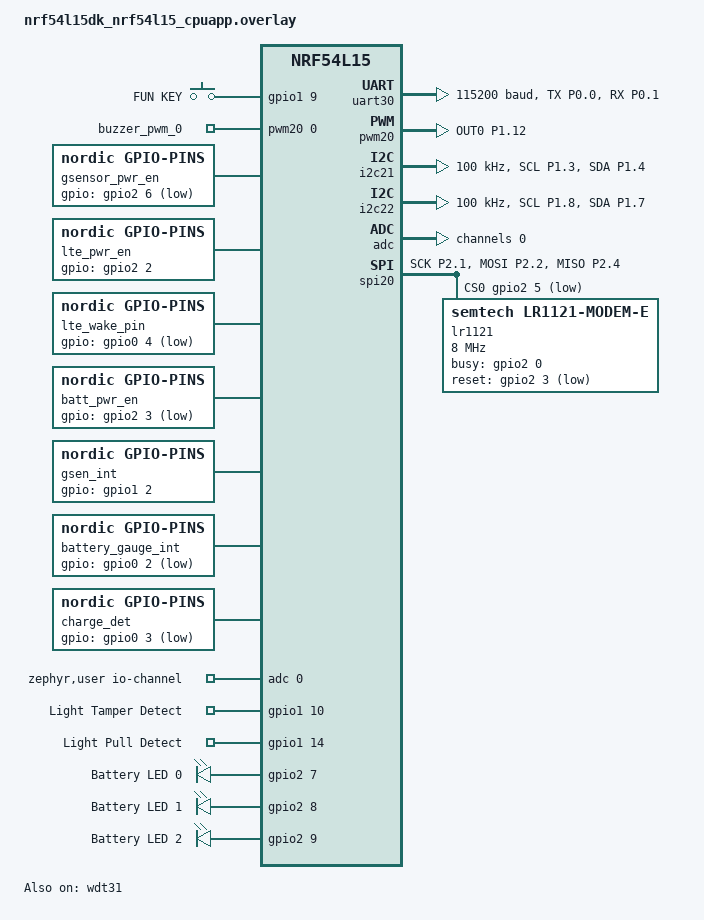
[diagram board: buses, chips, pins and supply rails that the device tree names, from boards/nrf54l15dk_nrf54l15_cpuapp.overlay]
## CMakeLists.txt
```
#
# Copyright (c) 2018 Nordic Semiconductor
#
# SPDX-License-Identifier: LicenseRef-Nordic-5-Clause
#
cmake_minimum_required(VERSION 3.20.0)

find_package(Zephyr REQUIRED HINTS $ENV{ZEPHYR_BASE})
project(LL311_BLE)

target_include_directories(app PRIVATE
 ./inc
 ./src
 ./ext_module/imu/api
 ./ext_module/imu/port
 ./ext_module/imu/vendor
#  ./ext_module/battery_gauge/api
#  ./ext_module/battery_gauge/port
#  ./ext_module/battery_gauge/vendor
 ./ext_module/temp_humi/api
 ./ext_module/temp_humi/drivers/SHTC3/inc
 ./ext_module/barometer/api
 ./ext_module/lr1121/api
 ./ext_module/lr1121/modemE_driver/src
#  ./ext_module/accelerometer/api
#  ./ext_module/accelerometer/drivers/DA213/inc
)

# NORDIC SDK APP START
target_sources(app PRIVATE
  src/main.c
  src/my_ring_buf.c
  src/my_shell.c
  src/my_ble_core.c
  src/my_lte.c
  src/my_magnetic_uart.c
  src/my_gsensor.c
  src/my_gsensor_algorithm.c
  src/my_ctrl.c
  src/my_battery.c
  src/my_wdt.c
  src/my_tool.c
  src/my_cmd_setting.c
  src/my_zms_param.c
  src/my_ble_app.c
  src/my_ble_log.c
  src/my_dfu_jimi.c
  src/my_dfu_lte.c
  src/my_ota_flash.c
  src/my_ymodem.c
  src/my_pm.c
  src/my_ble_scan.c
  ext_module/imu/api/imu_api.c
  ext_module/imu/port/bmi325_port.c
  ext_module/imu/vendor/bmi325.c
  ext_module/imu/vendor/bmi3.c
  # ext_module/battery_gauge/api/battery_gauge_api.c
  # ext_module/battery_gauge/port/om70201wv_port.c
  # ext_module/battery_gauge/vendor/omg_battery.c
  ext_module/temp_humi/api/temp_humi_api.c
  ext_module/temp_humi/drivers/SHTC3/src/shtc3_driver.c
  ext_module/barometer/api/barometer_api.c
  # ext_module/accelerometer/api/accelerometer_api.c
  # ext_module/accelerometer/drivers/DA213/src/da213_driver.c
  src/my_flash_store.c
  src/my_lora.c
  ext_module/lr1121/api/lr1121_lora_api.c
  ext_module/lr1121/port/modem_e_hal_nrf54l15.c
  ext_module/lr1121/modemE_driver/src/modem_e_modem.c
  ext_module/lr1121/modemE_driver/src/modem_e_lorawan.c
  ext_module/lr1121/modemE_driver/src/modem_e_system.c
)

# 气压传感器芯片选择：BARO_DRIVER=SPL16时仅编译SPL16驱动
set(BARO_DRIVER "SPL16" CACHE STRING "气压传感器芯片：SPA06 或 SPL16")

if(BARO_DRIVER STREQUAL "SPL16")
  target_compile_definitions(app PRIVATE BARO_USE_SPL16=1)
  target_sources(app PRIVATE
    ext_module/barometer/drivers/SPL16/src/spl16_driver.c
  )
else()
  target_sources(app PRIVATE
    ext_module/barometer/drivers/SPA06/src/spa06_driver.c
  )
endif()

# NORDIC SDK APP END
```

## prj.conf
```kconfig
#
# Copyright (c) 2018 Nordic Semiconductor
#
# SPDX-License-Identifier: LicenseRef-Nordic-5-Clause
#

# Enable the UART driver
CONFIG_UART_ASYNC_API=y
CONFIG_NRFX_UARTE=y
CONFIG_SERIAL=y

# Enable the GPIO driver
CONFIG_GPIO=y

# LR1121 Modem-E validation transport
CONFIG_SPI=y
CONFIG_NRF_SYS_EVENT=y
# Enable I2C driver
CONFIG_I2C=y

# Enable PWM driver
CONFIG_PWM=y

# Make sure printk is printing to the RTT console
CONFIG_CONSOLE=y
CONFIG_UART_CONSOLE=n
CONFIG_RTT_CONSOLE=y

# Enable Shell
CONFIG_SHELL=y
CONFIG_SHELL_BACKEND_RTT=y
CONFIG_SHELL_BACKEND_SERIAL=n
CONFIG_SHELL_VT100_COMMANDS=y
CONFIG_SHELL_HISTORY=y

# Increase RTT buffer size to prevent message drops
CONFIG_SEGGER_RTT_BUFFER_SIZE_UP=4096
CONFIG_LOG_BUFFER_SIZE=4096

# Heap and stacks
CONFIG_HEAP_MEM_POOL_SIZE=16384
CONFIG_MAIN_STACK_SIZE=2048
CONFIG_SYSTEM_WORKQUEUE_STACK_SIZE=2048

# Bluetooth RX workqueue stack size (default 1200 is insufficient for BLE log, increased to 2048)
CONFIG_BT_RX_STACK_SIZE=2048

# Enable Bluetooth
CONFIG_BT=y
CONFIG_BT_PERIPHERAL=y
CONFIG_BT_DEVICE_NAME="LL311"
CONFIG_BT_DEVICE_APPEARANCE=512
CONFIG_BT_MAX_CONN=2
CONFIG_BT_MAX_PAIRED=1

# Enable Bluetooth Observer role for TAG scanning
CONFIG_BT_OBSERVER=y
CONFIG_BT_SCAN=y

# Enable extended advertising for multiple advertising sets
CONFIG_BT_EXT_ADV=y
CONFIG_BT_EXT_ADV_MAX_ADV_SET=3

CONFIG_BT_CTLR_TX_PWR_DYNAMIC_CONTROL=y

# Enable the Device Information Service
# CONFIG_BT_DIS=y
# CONFIG_BT_DIS_MANUF_NAME=y
# CONFIG_BT_DIS_MANUF_NAME_STR="Nordic Semiconductor ASA"
# CONFIG_BT_DIS_PNP=y
# CONFIG_BT_DIS_PNP_VID_SRC=2
# CONFIG_BT_DIS_PNP_VID=0x1915
# CONFIG_BT_DIS_PNP_PID=0xEEF1
# CONFIG_BT_DIS_PNP_VER=0x0100

# Disable NUS service
CONFIG_BT_NUS=n
# CONFIG_BT_NUS_THREAD_STACK_SIZE is no longer needed

# Enable bonding
CONFIG_BT_SETTINGS=y
CONFIG_FLASH=y
CONFIG_FLASH_PAGE_LAYOUT=y
CONFIG_FLASH_MAP=y
CONFIG_STREAM_FLASH=y
CONFIG_PARTITION_MANAGER_ENABLED=y

# Enable DK LED and Buttons library
CONFIG_DK_LIBRARY=n

# Disable SPI NOR Flash
CONFIG_SPI_NOR=n
CONFIG_NORDIC_QSPI_NOR=n

# Enable Power Management
CONFIG_PM=y
CONFIG_PM_DEVICE=y
CONFIG_PM_DEVICE_RUNTIME=y

# Disable unused RAM blocks to reduce standby current
CONFIG_RAM_POWER_DOWN_LIBRARY=y

# Config logger
CONFIG_LOG=y
CONFIG_LOG_DEFAULT_LEVEL=3
CONFIG_USE_SEGGER_RTT=y
CONFIG_LOG_BACKEND_RTT=n
CONFIG_LOG_BACKEND_UART=n
CONFIG_LOG_PRINTK=n
CONFIG_LOG_CUSTOM_FORMAT_SUPPORT=y
CONFIG_LOG_OUTPUT_FORMAT_CUSTOM_TIMESTAMP=y
CONFIG_LOG_BACKEND_FORMAT_TIMESTAMP=y

CONFIG_HWINFO=y


# Enable assertions
CONFIG_ASSERT=y

# Enable power management
CONFIG_PM=y
CONFIG_PM_DEVICE=y

# Enable Watchdog
CONFIG_WATCHDOG=y

# Enable reboot
CONFIG_REBOOT=y

# Enable ADC
CONFIG_ADC=y
CONFIG_ADC_NRFX_SAADC=y

# ST MEMSC HAL
CONFIG_USE_STDC_LSM6DSV16X=y

# Enable poweroff
CONFIG_POWEROFF=y

# nRF Security + PSA Crypto
CONFIG_NRF_SECURITY=y

# AES ECB
CONFIG_PSA_WANT_KEY_TYPE_AES=y
CONFIG_PSA_WANT_ALG_ECB_NO_PADDING=y

# Enable MCUManager and BT OTA DFU
CONFIG_NCS_SAMPLE_MCUMGR_BT_OTA_DFU=y

# Enable Bluetooth OTA DFU support, no authentication required
CONFIG_MCUMGR_TRANSPORT_BT_PERM_RW=y

# MCUmgr notification hooks for OTA status monitoring
CONFIG_MCUMGR_MGMT_NOTIFICATION_HOOKS=y
CONFIG_MCUMGR_SMP_COMMAND_STATUS_HOOKS=y
CONFIG_MCUMGR_GRP_IMG_UPLOAD_CHECK_HOOK=y

# Enable Bluetooth SMP (Security Manager Protocol)
CONFIG_BT_SMP=y

# Enable Secure Connections pairing (for Passkey Entry)
CONFIG_BT_SMP_SC_PAIR_ONLY=n

# Enable larger ACL buffers for DFU (MTU 498 + 4 bytes L2CAP header)
# Supports dual-PDU mode: max data length = 251 * 2 = 502
CONFIG_BT_L2CAP_TX_MTU=498
CONFIG_BT_BUF_ACL_RX_SIZE=502
CONFIG_BT_BUF_ACL_TX_SIZE=502
CONFIG_BT_CTLR_DATA_LENGTH_MAX=251

CONFIG_CBPRINTF_FP_SUPPORT=y
```

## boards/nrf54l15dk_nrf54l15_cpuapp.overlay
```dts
/*
 * Copyright (c) 2024 Nordic Semiconductor ASA
 *
 * SPDX-License-Identifier: LicenseRef-Nordic-5-Clause
 */

#include <zephyr/dt-bindings/gpio/gpio.h>
#include <zephyr/dt-bindings/i2c/i2c.h>
#include <zephyr/dt-bindings/pinctrl/nrf-pinctrl.h>

/ {
	chosen {
	};

	/* 定义别名，方便代码调用 */
	aliases {
		/* 删除板级alias别名 */
		/delete-property/ led0;
		/delete-property/ led1;
		/delete-property/ led2;
		/delete-property/ led3;
		/delete-property/ pwm-led0;
		/delete-property/ sw0;
		/delete-property/ sw1;
		/delete-property/ sw2;
		/delete-property/ sw3;
		/delete-property/ mcuboot-button0;
		/delete-property/ mcuboot-led0;
		lte-uart = &uart30;
		lte-pwr-ctrl = &lte_pwr_en;
		lte-wake-ctrl = &lte_wake_pin;
		gsensor-i2c = &i2c21;
		battery-gauge-i2c = &i2c21;
		gsensor-pwr-ctrl = &gsensor_pwr_en;
		buzzer-pwm = &buzzer_pwm_0;
		fun-key = &fun_key_pin;
		batt-pwr-ctrl = &batt_pwr_en;
		gsensor-int = &gsen_int;
		battery-gauge-int = &battery_gauge_int;
		charge-detect = &charge_det;
		magnetic-uart = &uart20;
		light-tamper-detect = &light_tamper_pin;
		light-pull-detect = &light_pull_pin;
		battery-led0 = &batt_led0;
		battery-led1 = &batt_led1;
		battery-led2 = &batt_led2;
		temp-humi-i2c = &i2c22;
		env-sensor-pwr-ctrl = &env_sensor_pwr_en;
		baro-i2c = &i2c22;
	};
	/* 删除板级节点 */
	/delete-node/ leds;
	/delete-node/ buttons;
	/delete-node/ pwmleds;

	/* 定义按键 - 使用 gpio-keys 兼容类型 */
	button_fun: button_fun {
		compatible = "gpio-keys";
		fun_key_pin: fun_key_pin {
			gpios = <&gpio1 9 (GPIO_PULL_DOWN | GPIO_ACTIVE_HIGH)>;
			label = "FUN KEY";
		};
	};

	/* 定义蜂鸣器 PWM 节点 */
	buzzer_node {
		compatible = "pwm-leds";
		buzzer_pwm_0: buzzer_pwm_0 {
			/* 蜂鸣器设置2.7KHz */
			pwms = <&pwm20 0 PWM_HZ(2700) PWM_POLARITY_NORMAL>;
		};
	};

	/* G-Sensor 电源控制引脚配置,低电平有效,适配硬件设计 */
	gsensor_pwr_en: gsensor-pwr-en {
		compatible = "nordic,gpio-pins";
		gpios = <&gpio2 6 GPIO_ACTIVE_LOW>;
		status = "okay";
	};

	/* LTE 电源控制引脚配置 */
	lte_pwr_en: lte-pwr-en {
		compatible = "nordic,gpio-pins";
		gpios = <&gpio2 2 GPIO_ACTIVE_HIGH>;
		status = "okay";
	};

	/* LTE 唤醒引脚配置：P0.04，外部上拉，4G拉低唤醒Nordic */
	lte_wake_pin: lte-wake-pin {
		compatible = "nordic,gpio-pins";
		gpios = <&gpio0 4 GPIO_ACTIVE_LOW>;
		status = "okay";
	};

	/* P2.3: 电池使能，低电平使能 */
	batt_pwr_en: batt-pwr-en {
		compatible = "nordic,gpio-pins";
		gpios = <&gpio2 3 GPIO_ACTIVE_LOW>;
		status = "okay";
	};

	/* gsensor中断，默认下拉 */
	gsen_int: gsen-int {
		compatible = "nordic,gpio-pins";
		gpios = <&gpio1 2 (GPIO_PULL_DOWN | GPIO_ACTIVE_HIGH)>;
		status = "okay";
	};

	/* OM70201WV INTN：P0.02，默认上拉输入，低电平有效 */
	battery_gauge_int: battery-gauge-int {
		compatible = "nordic,gpio-pins";
		gpios = <&gpio0 2 (GPIO_PULL_UP | GPIO_ACTIVE_LOW)>;
		status = "okay";
	};

	/* P0.3: 是否在充电的检测,外部上拉 */
	charge_det: charge-det {
		compatible = "nordic,gpio-pins";
		gpios = <&gpio0 3 (GPIO_ACTIVE_LOW)>;
		status = "okay";
	};

	/* 把要用的 ADC 通道挂到 zephyr,user，方便 C 代码用 ADC_DT_SPEC_GET(DT_PATH(zephyr_user)) */
	zephyr,user {
		/* 通道 0：电池电压（P1.13 / AIN6）*/
		io-channels = <&adc 0>;
	};

	/* 光感拆壳检测：P1.10，外部1M下拉，有光高电平，无光低电平 */
	/* 光感拆卸检测：P1.14，外部1M下拉，有光高电平，无光低电平 */
	light_det: light-det {
		compatible = "gpio-keys";
		light_tamper_pin: light_tamper_pin {
			gpios = <&gpio1 10 GPIO_ACTIVE_HIGH>;
			label = "Light Tamper Detect";
		};
		light_pull_pin: light_pull_pin {
			gpios = <&gpio1 14 GPIO_ACTIVE_HIGH>;
			label = "Light Pull Detect";
		};
	};

	/* 电量指示灯组：P2.7 / P2.8 / P2.9 */
	batt_leds: batt-leds {
		compatible = "gpio-leds";

		batt_led0: batt_led_0 {
			gpios = <&gpio2 7 GPIO_ACTIVE_HIGH>;
			label = "Battery LED 0";  /* 最低电量格 */
		};

		batt_led1: batt_led_1 {
			gpios = <&gpio2 8 GPIO_ACTIVE_HIGH>;
			label = "Battery LED 1";
		};

		batt_led2: batt_led_2 {
			gpios = <&gpio2 9 GPIO_ACTIVE_HIGH>;
			label = "Battery LED 2";  /* 最高电量格 */
		};
	};

	/* LoRa 验证占用 P2.05 作为 LR1121 NSS，环境传感器保持断电。 */
	env_sensor_pwr_en: env-sensor-pwr-en {
		compatible = "nordic,gpio-pins";
		gpios = <&gpio2 5 GPIO_ACTIVE_LOW>;
		status = "disabled";
	};


};

/* 配置 NFC 使用的引脚做为IO口 */
&uicr {
	nfct-pins-as-gpios;
};

&uart20 {
	status = "disabled";
};

/* 配置 LTE 模块使用的串口引脚 P2.00, P2.01 */
&pinctrl {
	i2c21_default: i2c21_default {
		group1 {
			psels = <NRF_PSEL(TWIM_SCL, 1, 3)>,
				<NRF_PSEL(TWIM_SDA, 1, 4)>;
		};
	};

	i2c21_sleep: i2c21_sleep {
		group1 {
			psels = <NRF_PSEL(TWIM_SCL, 1, 3)>,
				<NRF_PSEL(TWIM_SDA, 1, 4)>;
			low-power-enable;
		};
	};

	i2c22_default: i2c22_default {
		group1 {
			psels = <NRF_PSEL(TWIM_SCL, 1, 8)>,
				<NRF_PSEL(TWIM_SDA, 1, 7)>;
		};
	};

	i2c22_sleep: i2c22_sleep {
		group1 {
			psels = <NRF_PSEL(TWIM_SCL, 1, 8)>,
				<NRF_PSEL(TWIM_SDA, 1, 7)>;
			low-power-enable;
		};
	};

	lte_uart30_default: lte_uart30_default {
		group1 {
			/* TX 为输出，无需偏置 */
			psels = <NRF_PSEL(UART_TX, 0, 0)>;
		};
		group2 {
			/* RX 为输入，default 状态配置上拉 */
			psels = <NRF_PSEL(UART_RX, 0, 1)>;
			bias-pull-up;
		};
	};

	lte_uart30_sleep: lte_uart30_sleep {
		group1 {
			/* sleep 状态配置低功耗模式(高阻态) */
			psels = <NRF_PSEL(UART_TX, 0, 0)>,
					<NRF_PSEL(UART_RX, 0, 1)>;
			low-power-enable;
		};
	};

	uart20_default: uart20_default {
		group1 {
			psels = <NRF_PSEL(UART_TX, 1, 5)>;
		};
		group2 {
			psels = <NRF_PSEL(UART_RX, 1, 6)>;
			bias-pull-up;
		};
	};

	uart20_sleep: uart20_sleep {
		group1 {
			psels = <NRF_PSEL(UART_TX, 1, 5)>,
				<NRF_PSEL(UART_RX, 1, 6)>;
			low-power-enable;
		};
	};

	pwm20_default: pwm20_default {
		group1 {
			psels = <NRF_PSEL(PWM_OUT0, 1, 12)>;
			nordic,drive-mode = <NRF_DRIVE_H0H1>;
		};
	};

	pwm20_sleep: pwm20_sleep {
		group1 {
			psels = <NRF_PSEL(PWM_OUT0, 1, 12)>;
			low-power-enable;
		};
	};

	lr1121_spi_default: lr1121_spi_default {
		group1 {
			psels = <NRF_PSEL(SPIM_SCK, 2, 1)>,
				<NRF_PSEL(SPIM_MOSI, 2, 2)>,
				<NRF_PSEL(SPIM_MISO, 2, 4)>;
			nordic,drive-mode = <NRF_DRIVE_H0H1>;
			bias-disable;
		};
	};

	lr1121_spi_sleep: lr1121_spi_sleep {
		group1 {
			psels = <NRF_PSEL(SPIM_SCK, 2, 1)>,
				<NRF_PSEL(SPIM_MOSI, 2, 2)>,
				<NRF_PSEL(SPIM_MISO, 2, 4)>;
			low-power-enable;
		};
	};
};

/* 开启并配置 UART30 */
&uart30 {
	status = "okay";
	current-speed = <115200>;
	pinctrl-0 = <&lte_uart30_default>;
	pinctrl-1 = <&lte_uart30_sleep>;
	pinctrl-names = "default", "sleep";
};

&uart20 {
	status = "disabled";
};

/* 开启并配置 PWM 用于蜂鸣器 */
&pwm20 {
	status = "okay";
	pinctrl-0 = <&pwm20_default>;
	pinctrl-1 = <&pwm20_sleep>;
	pinctrl-names = "default", "sleep";
};

/* 开启并配置 I2C21 用于 G-Sensor */
&i2c21 {
	status = "okay";
	pinctrl-0 = <&i2c21_default>;
	pinctrl-1 = <&i2c21_sleep>;
	pinctrl-names = "default", "sleep";
	clock-frequency = <I2C_BITRATE_STANDARD>;
};

/* 温湿度传感器 I2C 总线：P1.08(SCL), P1.07(SDA) */
&i2c22 {
	status = "okay";
	pinctrl-0 = <&i2c22_default>;
	pinctrl-1 = <&i2c22_sleep>;
	pinctrl-names = "default", "sleep";
	clock-frequency = <I2C_BITRATE_STANDARD>;
};

/* ADC 配置：通道 0 = AIN6(P1.13)，通道 1 = AIN7(P1.14) */
&adc {
	#address-cells = <1>;
	#size-cells = <0>;
	status = "okay";

	/* 通道 0：电池电压采集，AIN6 = P1.13 */
	channel@0 {
		reg = <0>;
		zephyr,gain = "ADC_GAIN_1_4";          /* nRF54L15 推荐 1/4 增益 */
		zephyr,reference = "ADC_REF_INTERNAL"; /* 内部参考 */
		zephyr,acquisition-time = <ADC_ACQ_TIME_DEFAULT>;
		zephyr,input-positive = <NRF_SAADC_AIN6>;  /* AIN6 = P1.13 */
		zephyr,resolution = <14>;                  /* nRF54L15 为 14 bit */
	};
};

/* disable spi nor flash */
&spi00 {
	status = "disabled";
};

/* Disable MX25R64 SPI NOR Flash */
&mx25r64 {
    status = "disabled";
};

/* LR1121 使用 SPIM20 (spi20) */
&spi20 {
	status = "okay";
	pinctrl-0 = <&lr1121_spi_default>;
	pinctrl-1 = <&lr1121_spi_sleep>;
	pinctrl-names = "default", "sleep";
	cs-gpios = <&gpio2 5 (GPIO_ACTIVE_LOW)>;
	lr1121: lr1121@0 {
		compatible = "semtech,lr1121-modem-e";
		reg = <0>;
		spi-max-frequency = <8000000>;
		busy-gpios = <&gpio2 0 GPIO_ACTIVE_HIGH>;
		reset-gpios = <&gpio2 3 GPIO_ACTIVE_LOW>;
	};
};

/* P0.4用于唤醒 */
&gpio0 {
	// wakeup-source;
	sense-edge-mask = <(BIT(2) | BIT(3) | BIT(4))>;  /* P0.2、P0.3 和 P0.4 */
};

/* 新增：为 gpio1 启用 sense 机制，降低功耗 */
&gpio1 {
	status = "okay";
	sense-edge-mask = <(BIT(2) | BIT(9) | BIT(10))>;  /* P1.2、P1.9 和 P1.10 */
};

&wdt31 {
	status = "okay";
};
```

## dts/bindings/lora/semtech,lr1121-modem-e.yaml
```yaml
description: Semtech LR1121 running LoRa Basics Modem-E

compatible: "semtech,lr1121-modem-e"

include: spi-device.yaml

properties:
  busy-gpios:
    type: phandle-array
    required: true
    description: LR1121 BUSY output GPIO.

  reset-gpios:
    type: phandle-array
    required: true
    description: LR1121 active-low reset GPIO.
```

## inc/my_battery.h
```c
/********************************************************************
**版权所有         深圳市几米物联有限公司
**文件名称:        my_battery.h
**文件描述:        电池管理模块实现头文件
**当前版本:        V1.0
**作    者:        周森达 (zhousenda@jimiiot.com)
**完成日期:        2026.02.04
*********************************************************************/

#ifndef _MY_BATTERY_H_
#define _MY_BATTERY_H_

// 电池状态枚举, 定义了电池的不同状态等级，从空到满
typedef enum
{
    BATT_UNKNOWN = -1,  /* 电池状态未知状态 */
    BATT_EMPTY,         /* 电池电量为空 */
    BATT_LOW,           /* 电池电量低 */
    BATT_NORMAL,        /* 电池电量正常 */
    BATT_FAIR,          /* 电池电量良好 */
    BATT_HIGH,          /* 电池电量高 */
    BATT_FULL,          /* 电池电量满 */
} my_batt_state_t;

// 电源状态枚举, 定义了设备的电源连接状态
typedef enum
{
    CHARG_UNKNOWN = -1,     /* 充电状态未知状态 */
    NO_CHARGING,            /* 充电器未连接 */
    CHARGING,               /* 充电器已连接（充电中） */
    CHARG_FULL,             /* 充电器已连接且电池已充满 */
} my_chg_state_t;

typedef enum
{
    CHG_BATT_LOW,    /* 充电状态电池电量低 */
    CHG_BATT_FAIR,   /* 充电状态电池电量良好 */
    CHG_BATT_HIGH,   /* 充电状态电池电量高 */
    CHG_BATT_FULL,   /* 充电状态电池电量满，电池已充满 */
} my_chg_batt_state_t;

// LED模式枚举, 定义了LED的不同显示模式
typedef enum
{
    BATT_LED_MODE,          // 电池状态LED模式
    CHG_LED_MODE,           // 充电状态LED模式
    BT_RADIO_LED_MODE,      // 蓝牙广播状态LED模式
    BT_CONNECT_LED_MODE,    // 蓝牙连接状态LED模式
} led_mode_t;

//电池电压-电量映射结构体,用于存储电池电压值与对应电量百分比的映射关系,用于通过电池电压计算电量百分比.
typedef struct
{
    int32_t mv;       /**< 电池电压值，单位为毫伏 (mV) */
    int8_t percent;   /**< 对应的电池电量百分比，范围为 0-100 */
} batt_volt_percent_map_t;

// LED控制上下文结构体, 用于存储LED控制相关的状态信息
typedef struct
{
  uint8_t led_status;                // LED控制标志位
  led_mode_t active_mode;            // 当前生效模式
  uint8_t led_count;                 // LED计数器
} led_ctrl_ctx_t;

// 电源状态，初始值为未连接
extern my_chg_state_t g_charg_state;

int batt_read_mv(int32_t *mv);
int ntc_read_raw(int16_t *raw);
int batt_adc_init(void);
void batt_enable(bool on);
int batt_gpio_init(void);

/*********************************************************************
**函数名称:  my_battery_update_state
**入口参数:  无
**出口参数:  无
**函数功能:  检查并更新电池状态
*********************************************************************/
void my_battery_update_state(void);

/*********************************************************************
**函数名称:  my_battery_show_chgled
**入口参数:  无
**出口参数:  无
**函数功能:  检查充电检测引脚的状态，根据检测结果更新充电状态并控制LED显示。
** 如果检测到充电，则启动充电LED控制定时器；如果未检测到充电，则关闭所有电池LED。
*********************************************************************/
void my_battery_show_chgled();

/*********************************************************************
**函数名称:  my_battery_read_mv
**入口参数:  *mv  --  指向存储电池电压值的指针，单位为毫伏
**出口参数:  err  --  错误码，0 表示成功，非 0 表示失败
**函数功能:  读取电池电压值（毫伏）,函数采用多次采样并去除极值的方法提高测量准确性,
**           最终结果会乘以 2，是因为硬件电路中的分压系数
*********************************************************************/
int my_battery_read_mv(int32_t *mv);

/*********************************************************************
**函数名称:  my_battery_pm_register
**入口参数:  无
**出口参数:  无
**函数功能:  将 Battery 模块注册到统一 PM 框架
**返 回 值:  0 表示成功，负值表示失败
*********************************************************************/
int my_battery_pm_register(void);

/*********************************************************************
**函数名称:  get_show_percent
**入口参数:  无
**出口参数:  电池电量百分比
**函数功能:  获取当前电池电量百分比
*********************************************************************/
int8_t get_show_percent(void);

/*********************************************************************
**函数名称:  get_charge_state_level
**入口参数:  无
**出口参数:  充电状态引脚电平
**函数功能:  获取当前充电状态引脚电平
*********************************************************************/
int get_charge_state_level(void);

/*********************************************************************
**函数名称:  open_led_timer
**入口参数:  timer_ms: 定时器周期时间，单位毫秒
**出口参数:  无
**函数功能:  打开LED控制开关，用于显示指示灯状态
*********************************************************************/
void open_led_timer(uint32_t timer_ms);

/*********************************************************************
**函数名称:  my_led_ctrl_mode
**入口参数:  无
**出口参数:  无
**函数功能:  控制LED模式
*********************************************************************/
void my_led_ctrl_mode(void);

/*********************************************************************
**函数名称:  led_enable
**入口参数:  on: true=使能，false=禁用
**出口参数:  无
**函数功能:  使能LED
*********************************************************************/
void led_enable(bool on);

/*********************************************************************
**函数名称:  led_set_mode
**入口参数:  mode: LED模式
** on: 是否开启
**出口参数:  无
**函数功能:  设置LED模式
*********************************************************************/
void led_set_mode(led_mode_t mode, bool on);

/*********************************************************************
**函数名称:  led_get_enable
**入口参数:  无
**出口参数:  LED使能标志
**函数功能:  获取LED使能标志
*********************************************************************/
bool led_get_enable(void);

/*********************************************************************
**函数名称:  get_batt_mv
**入口参数:  无
**出口参数:  电池电压值（毫伏）
**函数功能:  获取当前电池电压值（毫伏）
*********************************************************************/
int get_batt_mv(void);

/*********************************************************************
**函数名称:  get_batt_percent
**入口参数:  无
**出口参数:  电池电量百分比
**函数功能:  获取当前电池电量百分比
*********************************************************************/
int8_t get_batt_percent(void);

#endif
```

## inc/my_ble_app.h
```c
/********************************************************************
**版权所有         深圳市几米物联有限公司
**文件名称:        my_ble_app.h
**文件描述:        设备蓝牙交互模块实现头文件
**当前版本:        V1.0
**作    者:        周森达 (zhousenda@jimiiot.com)
**完成日期:        2026-03-05
*********************************************************************
** 功能描述:        1. 提供交互协议相关宏定义
**                 2. 为外部提供数据接收和解析相关接口
** 协议文档:        Jimi Iot 蓝牙通信协议V3.1.6_2026-3-5
** OTA 效率优化:    为提升 OTA 传输效率，采用双 PDU 模式，MTU 扩大至 498 字节
**                 （默认 MTU 247 仅支持单 PDU，498 支持双 PDU，理论吞吐提升约 2 倍）
** 配置位置:        prj.conf 中 CONFIG_BT_L2CAP_TX_MTU=498 和 CONFIG_BT_BUF_ACL_RX_SIZE=502
*********************************************************************/
#ifndef _MY_BLE_APP_H_
#define _MY_BLE_APP_H_

// 交互协议相关宏定义
#define BLE_DATA_FRAME_LEN_MAX                  16

#define BLE_DATA_PACKET_HEAD                    0X4254          //数据包头
#define BLE_DATA_TYPE_PKEY                      0x1101          //公钥数据
#define BLE_DATA_TYPE_CID                       0x2202          //串号数据
#define BLE_DATA_TYPE_MTU_LEN                   0x2203          //MTU交换数据
#define BLE_DATA_TYPE_HID_VALID                 0x2303          //HID有效期
#define BLE_DATA_TYPE_ALARM                     0x3303          //防盗器指令数据
#define BLE_DATA_TYPE_QUERY                     0x3304          //查询仪表数据及应答
#define BLE_DATA_TYPE_REPORT                    0x3305          //仪表数据上行汇报及应答
#define BLE_DATA_TYPE_CMD                       0x5505          //其它指令数据
#define BLE_DATA_TYPE_FILE_TRANS                0x4605          //DFU文件指令,参考Jimi Iot 蓝牙通信协议V3.1.6_2026-3-5 6.4 OTA文件传输
#define BLE_DATA_TYPE_QEURY_VER                 0x5601          //app下行查询版本号
#define BLE_DATA_TYPE_RSP_VER1                  0x5602          //设备类型
#define BLE_DATA_TYPE_RSP_VER2                  0x5603          //设备版本号

#define BLE_DATA_TYPE_SET_ADV                   0x5606          //设置广播名称
#define BLE_DATA_TYPE_SET_IMEI                  0x5707          //设置IMEI号
#define BLE_DATA_TYPE_AT_CMD                    0x5808          //用户指令

/* 单模块回复传输（0xFF 0x01 / 0xFF 0x02）
 * 用于大数据量返回，如NFCTRIG CHECK返回结果
 * 1. 可单包发送时走 FF01：payload 格式为 len(Varint, 0-512) + Module id(Varint,固定0x08) + Module len(Varint) + data
 *    APP 回复解密后 payload 固定为 0x00
 * 2. 需分包发送时走 FF02：payload 格式为 Len(Varint, 0-512) + Seq(1B) + [首包附带 Module id + Module len] + data
 *    APP 回复格式为 52 54 FF 02，解密后 payload 为 len(Varint) + 包序号
 */
#define BLE_DATA_TYPE_PACKET_SINGLE             0xFF01          //单包传输数据类型
#define BLE_DATA_TYPE_PACKET_MULTIPLE           0xFF02          //分包传输数据类型

#define BLE_PACKET_TRANS_MODULE_ID              0x08            //模块ID(RSP_ASCII)
#define BLE_PACKET_TRANS_SEQ_LAST               0xFF            //最后一包序号标记

/* 日志指令透传数据（LOG_DATA）
 * 指令格式：
 * +--------+--------+--------+--------+
 * |  字节  |   0~1  |   2~3  |  4~N   |
 * +--------+--------+--------+--------+
 * |  字段  |  head  |  cmd   |  data  |
 * +--------+--------+--------+--------+
 * |  值    | 0x4254 | 0x5901 |  日志  |
 * +--------+--------+--------+--------+
 * 说明：
 *   - head (2B): 帧头 0x4254 ("BT")
 *   - cmd  (2B): 指令类型 0x5901 (LOG_DATA)
 *   - data (NB): 透传日志内容，明文传输，无需16字节对齐，测试发现小于16字节的需要填充0，补足16字节
 *   - 长度计算: MTU - BLE_LOG_MTU_OVERHEAD
 *   - MTU开销: ATT头(3B) + head(2B) + cmd(2B) = 7B
 */
#define BLE_DATA_TYPE_BT_LOG                    0x5901          //日志指令透传数据（LOG_DATA）
/* 日志数据MTU开销：ATT头(3B) + head(2B) + cmd(2B) */
#define BLE_LOG_MTU_OVERHEAD                    7

/* 蓝牙日志单包最大内容长度
 * 原因：测试发现超过240字节会导致蓝牙自动断开
 * 注意：此限制与MTU无关，是协议栈稳定性要求
 */
#define BLE_LOG_MAX_CHUNK_SIZE                  240

#define BLE_DFU_HEAD1                           0x78            // DFU包头1
#define BLE_DFU_HEAD2                           0x79            // DFU包头2

#define BLE_COMU_DEV_CODE                       0xB3            // 设备码
#define BLE_COMU_APP_CODE                       0xC2            // 应用码
#define BLE_COMU_CMD_START                      0x89            // 命令码
#define BLE_COMU_ALARM_START                    0x78            // 告警码

#define BLE_PKEY_RX_CMD                         0x8900C200      // 公钥接收命令
#define BLE_PKEY_RSP_DATA1                      0x00            // 公钥接收响应数据1
#define BLE_PKEY_RSP_DATA3                      0x00

/* APP下行控制指令    */
#define BLE_APP_CMD_APP_LINK                    0x00
#define BLE_APP_CMD_PAIR_ALLOW                  0x02
#define BLE_APP_CMD_PAIR_ALIOS                  0x03            // IOS PAIR ALLOW
#define BLE_APP_CMD_HID_READ                    0x05
#define BLE_APP_CMD_HID_ONOFF                   0x06
#define BLE_APP_CMD_HID_GEAR                    0x08
#define BLE_APP_CMD_QUERY_SENSOR                0x09
#define BLE_APP_CMD_SETUP_SENSOR                0x0a
#define BLE_APP_CMD_QUERY_BUZZER                0x0b
#define BLE_APP_CMD_SETUP_BUZZER                0x0c
#define BLE_APP_CMD_QUERY_CTRLPWR               0x0d
#define BLE_APP_CMD_SETUP_CTRLPWR               0x0e
#define BLE_APP_CMD_QUERY_ALL                   0x0f
#define BLE_APP_CMD_FIND_CAR                    0x10
#define BLE_APP_CMD_USER_MODE                   0x12
#define BLE_APP_CMD_PAIR_MODE                   0x15
#define BLE_APP_CMD_PAIR_CODE                   0x16

/* 设备上行应答APP控制指令       */
#define BLE_RSP_CMD_APP_LINK                    0x00
#define BLE_RSP_CMD_CID                         0x01
#define BLE_RSP_CMD_PAIR_ALLOW                  0x03
#define BLE_RSP_CMD_PAIR_RESULT                 0x04
#define BLE_RSP_CMD_HID_ONOFF                   0x06
#define BLE_RSP_CMD_HID_GEAR                    0x08
#define BLE_RSP_CMD_SENSOR_PARAM                0x09
#define BLE_RSP_CMD_SENSOR_SETUP                0x0a
#define BLE_RSP_CMD_BUZZER_PARAM                0x0b
#define BLE_RSP_CMD_BUZZER_SETUP                0x0c
#define BLE_RSP_CMD_CTRLPWR_PARAM               0x0d
#define BLE_RSP_CMD_CTRLPWR_SETUP               0x0e
#define BLE_RSP_CMD_QUERY_ALL                   0x0f
#define BLE_RSP_CMD_FIND_CAR                    0x10
#define BLE_RSP_CMD_USER_MODE                   0x12
#define BLE_RSP_CMD_PAIR_MODE                   0x15
#define BLE_RSP_CMD_PAIR_CODE                   0x16

#define BLE_RSP_PARAM_SUCCESS                   0x00
#define BLE_RSP_PARAM_FAIL                      0x01

extern uint16_t g_ble_server_mtu;

#define BLE_SERVER_MAX_MTU CONFIG_BT_L2CAP_TX_MTU // MTU最大长度，系统用掉了3个字节,可用数据最大244字节
#define BLE_SERVER_MIN_MTU 23                     // MTU默认最小长度

#define BLE_SERVER_MAX_DATA_LEN    (g_ble_server_mtu - 3)
#define BLE_SVC_RX_MAX_LEN         (BLE_SERVER_MAX_MTU - 3)
#define BLE_SVC_TX_MAX_LEN         (BLE_SERVER_MAX_MTU - 3)

#define BLE_RESP_LENGTH_MAX         BLE_SVC_RX_MAX_LEN

#define BLE_FRAME_HEAD_LEN          2               // 蓝牙数据帧头长度2字节
#define BLE_CMD_HEAD_LEN            2               // 蓝牙命令头长度2字节
#define BLE_CMD_DATA_LEN_UNIT       16              // 蓝牙命令内容长度基数16字节，因为要加密，必须是16字节的倍数
#define BLE_GATT_FRAME_LEN_MIN      (BLE_FRAME_HEAD_LEN + BLE_CMD_HEAD_LEN + BLE_CMD_DATA_LEN_UNIT)

#define BLE_MTU_DATA_LEN            (512 + 16)  /* MTU 498 支持，最大解密后约 512 字节，对齐 16 字节 */

/*********************************************************************
**函数名称:  BLE_DataInputBuffer
**入口参数:  data        --  蓝牙接收的原始数据指针
**           len         --  蓝牙接收的原始数据长度
**出口参数:  无
**函数功能:  验证数据长度合法性后缓存数据，发送消息给蓝牙线程处理
**返 回 值:  无
*********************************************************************/
void BLE_DataInputBuffer(const uint8_t *data, uint16_t len);
/*********************************************************************
**函数名称:  ble_rx_proc_handle
**入口参数:  无
**出口参数:  无
**函数功能:  蓝牙接收消息处理函数，验证包头后分发处理数据包
**返 回 值:  无
*********************************************************************/
void ble_rx_proc_handle(void);

/*********************************************************************
**函数名称:  my_ble_dfu_send_response
**入口参数:  cmd   ---   命令码
**           data  ---   响应数据
**           len   ---   数据长度
**出口参数:  无
**函数功能:  发送 DFU 响应数据
**返 回 值:  无
*********************************************************************/
void my_ble_dfu_send_response(uint8_t cmd, uint8_t *data, uint16_t len);

/*********************************************************************
**函数名称:  ble_log_send
**入口参数:  data     ---        日志数据指针
**           len      ---        日志数据长度
**出口参数:  无
**函数功能:  发送蓝牙日志到APP，通过指令通道（0x5901）明文传输
**返 回 值:  无
*********************************************************************/
void ble_log_send(uint8_t *data, uint8_t len);

/*********************************************************************
**函数名称:  ble_log_init
**入口参数:  无
**出口参数:  无
**函数功能:  初始化蓝牙日志模块，包括互斥锁初始化
**返 回 值:  0 表示成功
*********************************************************************/
int ble_log_init(void);

/*********************************************************************
**函数名称:  ble_log_disconnect_cleanup
**入口参数:  无
**出口参数:  无
**函数功能:  蓝牙断开时设置断开标志，通知 ble_log_send 清理资源
**返 回 值:  无
*********************************************************************/
void ble_log_disconnect_cleanup(void);

/*********************************************************************
**函数名称:  ble_log_connect_init
**入口参数:  无
**出口参数:  无
**函数功能:  蓝牙连接建立时清除断开标志，允许日志发送
**返 回 值:  无
*********************************************************************/
void ble_log_connect_init(void);
/********************************************************************
**函数名称:  ble_comu_at_cmd_handle
**入口参数:  data          ---        AT命令数据输入指针
**         :  len           ---        数据长度
**出口参数:  无
**函数功能:  处理BLE接收的AT命令
**返回值:    无
**注意事项:  根据AT命令处理结果决定是否发送响应数据
*********************************************************************/
void ble_comu_at_cmd_handle(const uint8_t *data, uint16_t len);

/********************************************************************
**函数名称:  ble_packet_trans_send
**入口参数:  data          ---        待发送的实际数据指针
**         :  len           ---        待发送的实际数据长度
**出口参数:  无
**函数功能:  使用分包传输机制（0xFF 0x02）发送大数据到APP
**返回值:    无
**注意事项:  1.数据会被自动分包，每包等待APP确认后再发下一包
**           2.分包大小根据MTU自动计算
**           3.数据内容会被扩展到16字节倍数后加密发送
**           4.最后一包实际数据使用0xFF作为序号
*********************************************************************/
void ble_packet_trans_send(uint8_t *data, uint16_t len);

/*********************************************************************
**函数名称:  ble_packet_trans_init
**入口参数:  无
**出口参数:  无
**函数功能:  初始化BLE单包/分包回复超时与重发模块
**返 回 值:  无
*********************************************************************/
void ble_packet_trans_init(void);

/*********************************************************************
**函数名称:  ble_packet_trans_timeout_handler
**入口参数:  无
**出口参数:  无
**函数功能:  BLE 分包传输应答超时处理，在 BLE 线程上下文执行
**返 回 值:  无
*********************************************************************/
void ble_packet_trans_timeout_handler(void);

/*********************************************************************
**函数名称:  ble_packet_trans_disconnect_cleanup
**入口参数:  无
**出口参数:  无
**函数功能:  蓝牙断开时清理BLE单包/分包回复状态
**返 回 值:  无
*********************************************************************/
void ble_packet_trans_disconnect_cleanup(void);

/********************************************************************
**函数名称:  ble_comu_response_or_expansion_cmd
**入口参数:  type          ---        命令类型
**         :  str_data      ---        输入数据指针
**         :  len           ---        数据长度
**出口参数:  无
**函数功能:  发送BLE通信响应或扩展命令数据
**返回值:    无
**注意事项:  数据长度会被扩展到16字节的倍数进行发送
*********************************************************************/
void ble_comu_response_or_expansion_cmd(uint16_t type, uint8_t *str_data, uint8_t len);
#endif
```

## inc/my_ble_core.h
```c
/********************************************************************
**版权所有         深圳市几米物联有限公司
**文件名称:        my_ble_core.h
**文件描述:        蓝牙核心任务处理模块头文件
**当前版本:        V1.0
**作    者:        Harrison Wu (wuyujiao@jimiiot.com)
**完成日期:        2026.01.13
*********************************************************************
** 功能描述:        蓝牙核心任务处理模块接口
**                 1. 提供BLE核心初始化接口
**                 2. 提供BLE运行控制接口(启动/停止等)
**                 3. 定义BLE与UART透传之间的FIFO接口
**                 4. 为应用层提供BLE连接状态和数据通道抽象
*********************************************************************/

#ifndef _MY_BLE_CORE_H_
#define _MY_BLE_CORE_H_

typedef enum {
    APPLE_ADV_TYPE,
    GOOGLE_ADV_TYPE
} my_adv_t;

/*
 * BLE 核心初始化参数：
 * 目前暂无特定参数，预留结构体
 */
struct my_ble_core_init_param
{
    uint32_t reserved;
};

/********************************************************************
**函数名称:  my_ble_core_init
**入口参数:  param    ---        BLE 核心初始化参数结构体（包含 UART-BLE 透传 FIFO ）
**           tid      ---        指向线程 ID 变量的指针
**出口参数:  tid      ---        存储启动后的线程 ID
**函数功能:  保存 UART 与 BLE 透传 FIFO 句柄，初始化消息队列并启动 BLE 任务线程
**返 回 值:  0 表示成功，负值表示失败（如参数非法等）
*********************************************************************/
int my_ble_core_init(const struct my_ble_core_init_param *param, k_tid_t *tid);

/********************************************************************
**函数名称:  my_ble_core_start
**入口参数:  无
**出口参数:  无
**函数功能:  启动 BLE 协议栈、相关广播及 GATT 服务
**返 回 值:  0 表示成功，负值表示失败（如协议栈初始化失败等）
*********************************************************************/
int my_ble_core_start(void);

/********************************************************************
**函数名称:  set_adv_valid_status
**入口参数:  index    ---        广播类型索引（0:APPLE, 1:GOOGLE）
**           status   ---        广播状态（0:无效, 1:有效）
**出口参数:  无
**函数功能:  设置指定类型广播的有效状态
**返 回 值:  无
*********************************************************************/
void set_adv_valid_status(my_adv_t index, int status);

/********************************************************************
**函数名称:  bt_get_mac_addr
**入口参数:  无
**出口参数:  无
**函数功能:  获取设备蓝牙MAC地址
**返 回 值:  指向MAC地址缓冲区的指针（6字节）
*********************************************************************/
const uint8_t *bt_get_mac_addr(void);
/********************************************************************
**函数名称:  ble_server_send_notification
**入口参数:  data     ---        要发送的数据缓冲区指针
**           tx_len   ---        数据长度
**出口参数:  无
**函数功能:  BLE服务器发送通知函数，处理GATT通知数据发送
**返 回 值:  无
*********************************************************************/
void ble_server_send_notification(uint8_t *data, uint16_t tx_len);

/********************************************************************
**函数名称:  ble_is_connected
**入口参数:  无
**出口参数:  无
**函数功能:  检查BLE是否已连接
**返 回 值:  true=已连接，false=未连接
*********************************************************************/
bool ble_is_connected(void);

/********************************************************************
**函数名称:  ble_is_data_channel_ready
**入口参数:  无
**出口参数:  无
**函数功能:  检查BLE数据通道是否就绪（连接建立+CCC使能）
**返 回 值:  true=就绪，false=未就绪
**注意事项:  仅当数据通道就绪后才能发送日志，避免在连接初期发送导致崩溃
*********************************************************************/
bool ble_is_data_channel_ready(void);
/********************************************************************
**函数名称:  ble_set_tx_power
**入口参数:  tx_power ---        发射功率(dBm)，范围: -10 ~ +7(NRF54L15 QFN封装)
**出口参数:  无
**函数功能:  设置蓝牙发射功率
**返 回 值:  0表示成功，负值表示失败
*********************************************************************/
int ble_set_tx_power(int8_t tx_power);
/********************************************************************
**函数名称:  ble_set_tx_power_by_param
**入口参数:  无
**出口参数:  无
**函数功能:  根据ZMS存储的参数设置蓝牙发射功率
**返 回 值:  0表示成功，负值表示失败
*********************************************************************/
int ble_set_tx_power_by_param(void);

/********************************************************************
**函数名称:  my_no_con_start_adv
**入口参数:  tag_sw ---   广播控制开关：1-开启广播，0-关闭广播
**出口参数:  无
**函数功能:  同时控制苹果和谷歌两种类型的广播打开和关闭
**返 回 值:  无
*********************************************************************/
void my_no_con_start_adv(uint8_t tag_sw);

/********************************************************************
**函数名称:  my_ble_updata_adv_param
**入口参数:  ms_data --- 广播间隔时间，单位为毫秒(ms)
**出口参数:  无
**函数功能:  更新BLE非连接广播参数
**返 回 值:  无
*********************************************************************/
void my_ble_updata_adv_param(uint16_t ms_data);

/********************************************************************
**函数名称:  my_bluetooth_key_process
**入口参数:  无
**出口参数:  无
**函数功能:  处理按键广播逻辑，5s按键3次开启广播
**返 回 值:  无
*********************************************************************/
void my_bluetooth_key_process(void);

#endif /* _MY_BLE_CORE_H_ */
```

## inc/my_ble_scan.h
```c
/********************************************************************
**版权所有         深圳市几米物联有限公司
**文件名称:        my_ble_scan.h
**文件描述:        设备扫描模块头文件
**当前版本:        V1.0
**作    者:       周森达 (zhousenda@jimiiot.com)
**完成日期:        2026.04.14
*********************************************************************
** 功能描述:        设备扫描模块接口定义
**                 1. 定义扫描结果/配置/缓存等核心数据结构
**                 2. 定义四种工作模式：关闭/唤醒扫描/周期缓存/周期上报
**                 3. 提供初始化、配置设置、前缀添加等对外接口
**                 4. 提供LTE唤醒时的扫描触发和数据上报接口
**                 5. 提供BLE线程消息处理接口，支持无锁串行处理
*********************************************************************/

#ifndef _MY_BLE_SCAN_H_
#define _MY_BLE_SCAN_H_

/* 宏定义 */
#define TAG_PREFIX_MAX_NUM          10      // 最大支持TAG前缀数量
#define TAG_PREFIX_MAX_LEN          16      // 前缀最大长度
#define ADV_NAME_MAX_LEN            32      // 设备名称最大长度
#define TAG_FF_DATA_MAX_LEN         29      // FF数据固定长度
#define UUID_MAX_LEN                16      // UUID最大存储长度
#define ADV_CACHE_MAX_NUM           10      // ADV数据缓存最大数量
#define TAG_RESULT_MAX_NUM          10      // 最大存储结果数量,后续根据实际情况调整
#define TRAN_MAC_ADV_DATA_MAX_LEN   31      // 蓝牙广播数据最大长度（Legacy ADV）
#define TRAN_MAC_MAX_NUM            20      // 透传MAC地址最大数量

/* 扫描工作模式枚举 */
typedef enum
{
    SCAN_MODE_OFF = 0,          // Mode 0：关闭蓝牙扫描收集功能
    SCAN_MODE_PERIOD_CACHE,     // Mode 1：周期扫描收集，仅4G唤醒时上传
    SCAN_MODE_PERIOD_UPLOAD,    // Mode 2：周期扫描收集，定时主动唤醒上传
} scan_mode_t;

/* 扫描状态枚举 */
typedef enum
{
    SCAN_STATE_IDLE = 0,        // 空闲状态
    SCAN_STATE_SCANNING,        // 扫描中
    SCAN_STATE_WAITING_UPLOAD,  // 等待上报
} scan_state_t;

/* TAG设备名称前缀结构 */
typedef struct
{
    char prefix[TAG_PREFIX_MAX_LEN];    // 前缀字符串
    uint8_t len;                        // 前缀长度
    bool valid;                         // 有效标志
} tag_prefix_t;

/* TAG设备名称前缀表 */
typedef struct
{
    tag_prefix_t items[TAG_PREFIX_MAX_NUM];
    uint8_t count;                      // 当前有效前缀数量
} tag_prefix_table_t;

/* TAG设备扫描结果结构 */
typedef struct
{
    bt_addr_le_t addr;                          // 设备MAC地址
    char name[ADV_NAME_MAX_LEN];                // 设备名称
    uint8_t ff_data[TAG_FF_DATA_MAX_LEN];       // FF数据
    uint8_t ff_data_len;                        // FF数据长度
    uint8_t uuid[UUID_MAX_LEN];                 // UUID数据
    uint8_t uuid_len;                           // UUID数据长度
    uint8_t battery_percent;                    // 电量百分比
    int8_t rssi;                                // 信号强度
    uint32_t timestamp;                         // 采集到该记录时的系统时间戳(秒)
} tag_scan_result_t;

/* TAG扫描结果表 */
typedef struct
{
    tag_scan_result_t items[TAG_RESULT_MAX_NUM];
    uint8_t count;                       // 当前结果数量
} tag_scan_result_table_t;

/* 扫描模块配置结构 */
typedef struct
{
    scan_mode_t mode;                 // 工作模式
    uint32_t scan_interval;           // 扫描间隔（秒）
    uint32_t scan_length;             // 单次扫描时长（秒）
    uint32_t upload_interval;         // 上报间隔（秒）
    scan_state_t state;               // 当前状态
} scan_config_t;

/* ADV数据缓存项结构 */
typedef struct
{
    bt_addr_le_t addr;
    uint8_t ff_data[TAG_FF_DATA_MAX_LEN];
    uint8_t ff_data_len;
    bool valid;
    uint32_t seq_num;     // 序号，越大表示越新
} adv_cache_item_t;

/* TAG扫描处理消息结构 */
typedef struct
{
    uint8_t adv_type;
    tag_scan_result_t result;
} tag_scan_process_msg_t;

/* 透传MAC扫描结果项 */
typedef struct
{
    bt_addr_le_t addr;
    uint8_t adv_data[TRAN_MAC_ADV_DATA_MAX_LEN];
    uint8_t adv_data_len;
    uint32_t timestamp;                         // 采集到该记录时的系统时间戳(秒)
} tran_mac_result_item_t;

/* 透传MAC扫描结果表 */
typedef struct
{
    tran_mac_result_item_t items[TRAN_MAC_MAX_NUM];
    uint8_t count;
} tran_mac_result_table_t;

/* 透传MAC处理消息结构 */
typedef struct
{
    bt_addr_le_t addr;
    uint8_t adv_data[TRAN_MAC_ADV_DATA_MAX_LEN];
    uint8_t adv_data_len;
} tran_mac_process_msg_t;

/********************************************************************
**函数名称:  my_scan_init
**入口参数:  无
**出口参数:  无
**函数功能:  初始化扫描模块，注册扫描回调，初始化前缀表
**返 回 值:  0表示成功，负值表示失败
*********************************************************************/
int my_scan_init(void);

/********************************************************************
**函数名称:  my_scan_set_config
**入口参数:  mode        ---        工作模式（0-3）
**           scan_interval ---      扫描间隔（秒）
**           scan_length ---        单次扫描时长（秒）
**           upload_interval ---    上报间隔（秒）
**出口参数:  无
**函数功能:  设置扫描配置参数
**返 回 值:  无
*********************************************************************/
void my_scan_set_config(uint8_t mode, uint32_t scan_interval,
                           uint32_t scan_length, uint32_t upload_interval);

/********************************************************************
**函数名称:  my_scan_upload_on_lte_wakeup
**入口参数:  无
**出口参数:  无
**函数功能:  LTE可用时通知BLE线程统一调度扫描与传感器缓存上报
**返 回 值:  无
**注意事项:  此函数在LTE已唤醒或正在唤醒时调用，不主动唤醒LTE
*********************************************************************/
void my_scan_upload_on_lte_wakeup(void);

/********************************************************************
**函数名称:  my_tag_prefix_add
**入口参数:  prefix    ---        要添加的前缀字符串
**出口参数:  无
**函数功能:  添加过滤前缀到前缀表
**返 回 值:  0表示成功，负值表示失败
*********************************************************************/
int my_tag_prefix_add(const char *prefix);

/********************************************************************
**函数名称:  my_scan_msg_handler
**入口参数:  msg_ptr           ---        消息结构体指针
**出口参数:  无
**函数功能:  扫描消息处理函数，在BLE线程中调用
**返 回 值:  无
**注意事项:  此函数必须在BLE线程的消息处理循环中调用
*********************************************************************/
void my_scan_msg_handler(msg_t *msg_ptr);

/********************************************************************
**函数名称:  my_tran_mac_check
**入口参数:  addr          ---        待检查的蓝牙地址指针
**出口参数:  无
**函数功能:  检查指定蓝牙地址是否在透传MAC地址列表中
**返 回 值:  true表示匹配成功，false表示不匹配
*********************************************************************/
bool my_tran_mac_check(const bt_addr_le_t *addr);

/********************************************************************
**函数名称:  my_tran_mac_add
**入口参数:  addr          ---        要添加的蓝牙地址指针
**出口参数:  无
**函数功能:  添加透传MAC地址到列表
**返 回 值:  0表示成功，-EEXIST表示已存在,-ENOMEM表示没有空间
*********************************************************************/
int my_tran_mac_add(const bt_addr_le_t *addr);

/********************************************************************
**函数名称:  my_tran_mac_del
**入口参数:  addr          ---        要删除的蓝牙地址指针
**出口参数:  无
**函数功能:  从列表中删除指定透传MAC地址
**返 回 值:  0表示成功，-ENOENT表示未找到
*********************************************************************/
int my_tran_mac_del(const bt_addr_le_t *addr);

/********************************************************************
**函数名称:  my_tran_mac_del_all
**入口参数:  无
**出口参数:  无
**函数功能:  清空所有透传MAC地址
**返 回 值:  无
*********************************************************************/
void my_tran_mac_del_all(void);

/********************************************************************
**函数名称:  my_scan_test_flush_sort
**入口参数:  type      ---        数据类型(0=TAG, 1=透传MAC)
**           count     ---        注入的测试记录条数
**出口参数:  无
**函数功能:  测试专用：向实时表注入count条乱序时间戳记录后调用真实落盘接口，
**           用于验证落盘前按时间戳从小到大排序。注入令序号与时间戳反序，
**           排序正确则回读序号应为降序
**返 回 值:  实际注入并落盘的记录条数，负值表示参数非法
**注意事项:  函数定义仅在FS_STORE_TEST_ENABLE开启时编译，仅供shell测试调用
*********************************************************************/
int my_scan_test_flush_sort(uint8_t type, uint16_t count);

/********************************************************************
**函数名称:  clear_tag_macinfo
**入口参数:  无
**出口参数:  无
**函数功能:  重置扫描与上传相关的状态机、序列号，并清空TAG及MAC地址缓存表
**返 回 值:  无
*********************************************************************/
void clear_tag_macinfo(void);

/********************************************************************
**函数名称:  tag_mac_scan_upload_data
**入口参数:  无
**出口参数:  无
**函数功能:  状态机调度函数，负责按（START->DATA->DATA->...->END）分步上传
**             TAG数据和透传MAC地址数据。该函数需配合LTE模块的应答机制
**             多次调用以推进状态流转。
**返 回 值:  无
*********************************************************************/
void tag_mac_scan_upload_data(void);

#endif /* _MY_BLE_SCAN_H_ */
```

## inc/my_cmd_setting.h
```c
/********************************************************************
**版权所有         深圳市几米物联有限公司
**文件名称:        my_cmd_setting.h
**文件描述:        设备命令设置模块头文件
**当前版本:        V1.0
**作    者:        周森达 (zhousenda@jimiiot.com)
**完成日期:        2026.02.12
*********************************************************************/

#ifndef _MY_CMD_SETTING_H_
#define _MY_CMD_SETTING_H_

#define AT_CMD_TABLE_TOTAL (sizeof(at_cmd_attr_table)/sizeof(at_cmd_attr_t))
#define LTE_CMD_TABLE_TOTAL (sizeof(lte_cmd_attr_table)/sizeof(char*))

#define RESP_STRING_LENGTH_MAX              1024                //应答缓冲区大小
#define CMD_STRING_LENGTH_MAX               128                 //暂定可接收cmd缓冲区大小

typedef enum
{
    PARM_1,
    PARM_2,
    PARM_3,
    PARM_4,
    PARM_5,
    PARM_6,
    PARM_7,
    PARM_8,
    PARM_9,
    PARM_10,
    PARM_11,
    PARM_12,
    PARM_13,
    PARM_14,
    PARM_15,
    PARM_16,
    PARM_17,
    PARM_18,
    PARM_19,
    PARM_20,
    PARM_MAX
} cmd_parm_t;

typedef struct {
    char *parm[PARM_MAX];
    uint8_t parm_count;

    char rcv_msg[CMD_STRING_LENGTH_MAX];            //接收到的数据
    uint16_t rcv_length;

    char *resp_msg;                                 //应答数据指针（指向静态缓冲区）
    uint16_t resp_length;
} at_cmd_t;

typedef int(*at_cmd_handler_t)(at_cmd_t *msg);

typedef struct
{
    char *cmd_str;
    at_cmd_handler_t cmd_func;
} at_cmd_attr_t;

// 标记lte_cmd来的,用于区分蓝牙下发的还是lte过来的(某些指令只能网络发蓝牙不能执行)
extern uint8_t g_lte_cmdSource;

// 用于存储整包返回的数据内容(仅在蓝牙线程使用)
extern char g_resp_buf[RESP_STRING_LENGTH_MAX];

/********************************************************************
**函数名称:  set_long_battery_params
**入口参数:  config              ---    指向设备工作模式配置结构体的指针
**           reporting_interval   ---    上报间隔时间（单位：分钟，5~1440）
**           start_time_str      ---    启动时间字符串（格式：HHMM）
**           gnss_sw             ---    GNSS开关（1=ON, 0=OFF）
**出口参数:  config              ---    更新后的长续航模式配置结构体
**函数功能:  设置长续航模式的工作参数，包括上报间隔、启动时间和GNSS开关
**返 回 值:  0 表示成功，负值表示失败（如时间格式错误等）
*********************************************************************/
int set_long_battery_params(device_work_mode_config_t *config, uint16_t reporting_interval, const char *start_time_str, uint8_t gnss_sw);

/********************************************************************
**函数名称:  set_intelligent_params
**入口参数:  config     ---    指向设备工作模式配置结构体的指针
**           sub_mode   ---    子模式（0~5），控制Cell/GNSS休眠策略
**           static_int ---    静止状态上报间隔（原始值，单位由子模式决定）
**           moving_int ---    运动状态上报间隔（原始值，单位由子模式决定）
**出口参数:  config     ---    更新后的智能模式配置结构体
**函数功能:  设置智能模式的工作参数，根据子模式配置静止/运动上报间隔
**返 回 值:  0 表示成功，负值表示失败（如参数非法等）
*********************************************************************/
int set_intelligent_params(device_work_mode_config_t *config, uint8_t sub_mode, uint32_t static_int, uint32_t moving_int);

/********************************************************************
**函数名称:  at_recv_cmd_handler
**入口参数:  at_cmd_msg      ---        AT指令结构体指针，包含接收的指令和响应存储区域(输入/输出)
**出口参数:  at_cmd_msg中更新响应消息内容和响应长度
**函数功能:  解析接收到的AT指令并执行对应的处理函数
**返回值:    成功返回处理函数返回的BLE数据类型，未匹配指令或处理失败返回0
*********************************************************************/
uint16_t at_recv_cmd_handler(at_cmd_t *at_cmd_msg);

/********************************************************************
**函数名称:  run_lte_cmd
**入口参数:  at_cmd_msg      ---   指令结构体指针，包含接收的指令和响应存储区域(输入/输出)
**出口参数:  at_cmd_msg中更新响应消息内容和响应长度
**函数功能:  执行LTE+CMD指令中的command
**返回值:    未匹配指令或命令解析失败返回0
**          返回非0不代表command执行成功，具体看对应的执行函数resp_msg回复
*********************************************************************/
uint16_t run_lte_cmd(at_cmd_t *at_cmd_msg);

/*********************************************************************
**函数名称:  lte_send_command
**入口参数:  cmd_name     --  命令名称
**           param        --  命令参数（可选，NULL 表示无参数）
**出口参数:  无
**函数功能:  用于构建并发送 LTE 命令到 LTE 模块，支持带参数和不带参数的命令。
**           命令格式：BLE+命令名称[=参数]
**返 回 值:  0 表示成功，-1 表示失败（模式非法）
*********************************************************************/
int lte_send_command(const char *cmd_name, const char *param);

#endif /* _MY_CMD_SETTING_H_ */
```
